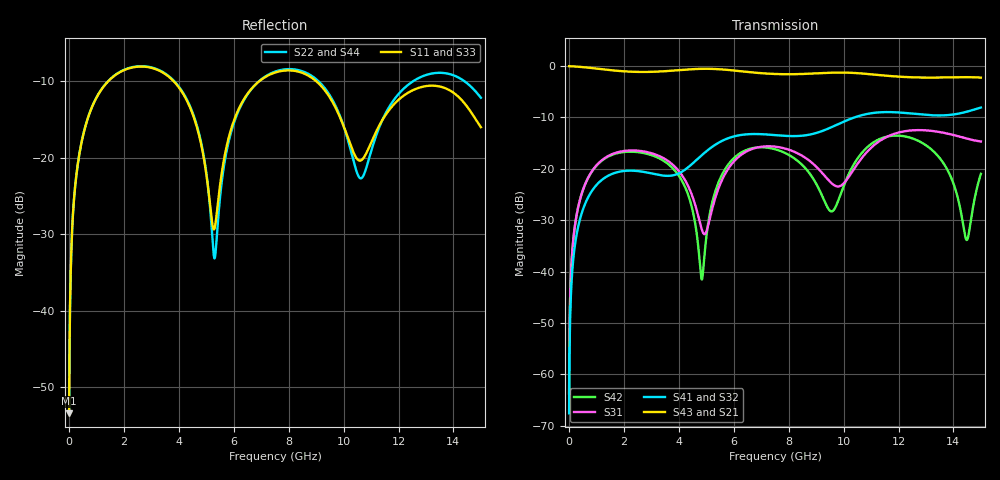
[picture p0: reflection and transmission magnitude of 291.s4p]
! Created with skrf 1.8.0 (http://scikit-rf.org).
# GHz S RI R 50.0
!freq ReS11 ImS11 ReS12 ImS12 ReS13 ImS13
! ReS14 ImS14
! ReS21 ImS21 ReS22 ImS22 ReS23 ImS23
! ReS24 ImS24
! ReS31 ImS31 ReS32 ImS32 ReS33 ImS33
! ReS34 ImS34
! ReS41 ImS41 ReS42 ImS42 ReS43 ImS43
! ReS44 ImS44
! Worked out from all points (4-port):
!   2499 points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, 5 MHz to 15 GHz, reference 50 ohm
!   strongest paths, dB at 5 MHz, 3.476 GHz, 7.19 GHz, 11.1 GHz, 15 GHz:
!     S43: 0.0, -1.0, -1.5, -1.6, -2.2
!     S21: 0.0, -1.0, -1.5, -1.6, -2.2
!     S41: -67.6, -21.3, -13.3, -9.1, -8.1
!     S32: -67.6, -21.4, -13.4, -9.1, -8.1
!     S31: -63.8, -18.0, -15.6, -15.4, -14.7
!     S42: -63.8, -18.5, -15.9, -14.8, -21.0
!   lowest |S11| = -53.4 dB at 5 MHz (marker M1), VSWR 1.00, Z = 50.2 + j0.13 ohm
!   |S11| at or under -10 dB: start of sweep to 1.425 GHz; 3.817 GHz to 6.924 GHz (3.107 GHz wide, 57.9 % of centre); 9.011 GHz to end of sweep
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0.005  0.0017 0.0013  0.9983 -0.00331  8.45e-05 0.000644  -8.22e-05 -0.000408
       0.9983 -0.00331  0.0017 0.0013  -8.22e-05 -0.000408  8.44e-05 0.000644
       8.45e-05 0.000644  -8.22e-05 -0.000408  0.0017 0.0013  0.9983 -0.00331
       -8.22e-05 -0.000408  8.44e-05 0.000644  0.9983 -0.00331  0.0017 0.0013
0.3126303  0.0255 0.085  0.9652 -0.2055  0.0116 0.038  -0.00945 -0.0238
           0.9652 -0.2055  0.0255 0.085  -0.00945 -0.0238  0.011 0.0381
           0.0116 0.038  -0.00945 -0.0238  0.0255 0.085  0.9652 -0.2055
           -0.00945 -0.0238  0.011 0.0381  0.9652 -0.2055  0.0255 0.085
1.519383  0.2752 0.1794  0.539 -0.7363  0.1267 0.0523  -0.0879 -0.00474
          0.539 -0.7363  0.2773 0.1779  -0.0878 -0.00491  0.1206 0.0608
          0.1267 0.0523  -0.0878 -0.00491  0.2752 0.1793  0.539 -0.7363
          -0.0879 -0.00474  0.1206 0.0608  0.539 -0.7363  0.2772 0.1779
5.133389  0.0362 -0.0345  -0.9288 -0.1482  -0.0184 0.0276  -0.0203 0.1565
          -0.9288 -0.1482  0.0245 -0.0416  -0.0231 0.1561  0.0108 0.0355
          -0.0184 0.0276  -0.0231 0.1561  0.0352 -0.0339  -0.9288 -0.1482
          -0.0203 0.1565  0.0108 0.0355  -0.9288 -0.1482  0.0252 -0.0409
8.122134  0.3716 -0.0168  -0.0179 0.8331  0.1129 -0.0982  0.2018 -0.0511
          -0.0179 0.8331  0.3792 -0.0223  0.2019 -0.0451  0.1128 -0.0662
          0.1129 -0.0982  0.2019 -0.0451  0.3721 -0.017  -0.0186 0.8332
          0.2018 -0.0511  0.1128 -0.0662  -0.0186 0.8332  0.3781 -0.0216
10.9233  0.1105 0.0373  0.834 -0.0515  0.045 0.1462  -0.0455 -0.3417
         0.834 -0.0515  0.0881 0.0439  -0.0345 -0.3427  0.0391 0.163
         0.045 0.1462  -0.0345 -0.3427  0.1106 0.04  0.8342 -0.0502
         -0.0455 -0.3417  0.0391 0.163  0.8342 -0.0502  0.0879 0.0425
15  0.1553 -0.032  -0.562 -0.529  -0.1654 -0.0822  -0.2691 0.2892
    -0.562 -0.529  0.2028 -0.1414  -0.2827 0.2758  -0.00778 0.089
    -0.1654 -0.0822  -0.2827 0.2758  0.149 -0.0293  -0.5613 -0.5312
    -0.2691 0.2892  -0.00778 0.089  -0.5613 -0.5312  0.1992 -0.1401
